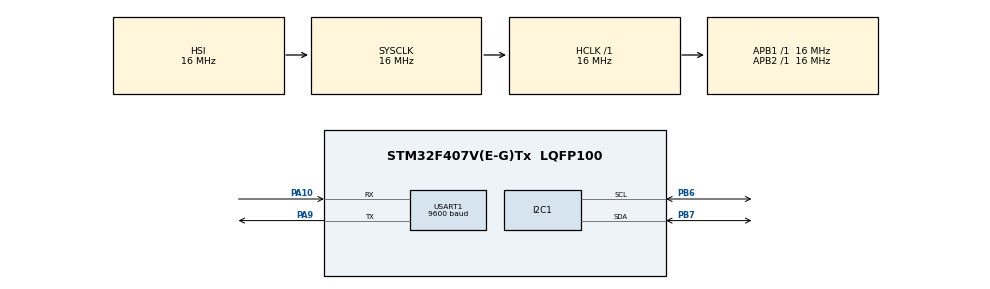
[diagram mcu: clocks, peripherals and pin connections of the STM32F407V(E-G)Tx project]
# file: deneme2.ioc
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Mcu.Family=STM32F4
Mcu.Name=STM32F407V(E-G)Tx
Mcu.Package=LQFP100
NVIC.PriorityGroup=NVIC_PRIORITYGROUP_4
PA10.Mode=Asynchronous
PA10.Signal=USART1_RX
PA13.Mode=Serial_Wire
PA13.Signal=SYS_JTMS-SWDIO
PA14.Mode=Serial_Wire
PA14.Signal=SYS_JTCK-SWCLK
PA9.Mode=Asynchronous
PA9.Signal=USART1_TX
PB6.Mode=I2C
PB6.Signal=I2C1_SCL
PB7.Mode=I2C
PB7.Signal=I2C1_SDA
ProjectManager.HeapSize=0x200
ProjectManager.StackSize=0x400
ProjectManager.TargetToolchain=MDK-ARM V5
RCC.AHBFreq_Value=16000000
RCC.APB1Freq_Value=16000000
RCC.APB2Freq_Value=16000000
RCC.CortexFreq_Value=16000000
RCC.HSE_VALUE=25000000
RCC.HSI_VALUE=16000000
RCC.LSE_VALUE=32768
RCC.SYSCLKFreq_VALUE=16000000
RCC.VCOOutputFreq_Value=192000000
USART1.BaudRate=9600
USART1.VirtualMode=VM_ASYNC
board=custom

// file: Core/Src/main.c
/* USER CODE BEGIN Header */
/**
  ******************************************************************************
  * @file           : main.c
  * @brief          : Main program body
  ******************************************************************************
  * @attention
  *
  * <h2><center>&copy; Copyright (c) 2020 STMicroelectronics.
  * All rights reserved.</center></h2>
  *
  * This software component is licensed by ST under BSD 3-Clause license,
  * the "License"; You may not use this file except in compliance with the
  * License. You may obtain a copy of the License at:
  *                        opensource.org/licenses/BSD-3-Clause
  *
  ******************************************************************************
  */
/* USER CODE END Header */
#include "main.h"
#include "i2c.h"
#include "usart.h"
#include "gpio.h"
#include "matrix.h"

#include "bno055.h"
#include "gpsParser.h"
#include "absOrientation.h"
#include "kalmanYazar.h"
#include "matrix.h"
#include "bmp280.h"

/* USER CODE BEGIN PTD */
int test = 0;
int zaman = 0, zaman2 = 0;

BMP280_HandleTypedef bmp280;
float pressure, temperature, humidity, altitudeBMP;

const float EARTH_RADIUS = 6371 * 1000.0; // meters
const float ACTUAL_GRAVITY = 9.80665;
double predictedLon = 0;
double predictedLat = 0;
double predictedVE = 0;
double predictedVN = 0;
float yazarPredictedAngle =0;
float speed, angle;

bno055_vector_t v;
bno055_vector_t v2;
float ax =0, ay=0, az=0;
float accelerationEast;
float accelerationNorth;
float accelerationUp;
float q[4];
float magneticDeclination = 5.36;
float roll = 0, pitch = 0, yaw = 0;

float lat, lon, alt;
double lat10 = 0,lon10 = 0;
uint8_t sec,min,hour, fix;
double oldLat =1, oldLon =1;

float  vEast =0;
float vNorth = 0;
float vUp = 0;
double predictedLonMeters = 0;
double predictedLatMeters = 0;
double predictedAlt = 0;
float resultantV = 0;
float timeStamp;

float gpsLatitude_raw;
float gpsLongitude_raw;
float gpsAltitude_raw;
float gpsSpeed_raw;

float latlonStandartDeviation = 2.0; //+ - 1m sapma için
float altitudeStandardDeviation = 3.518522417151836;

float accelerometerEastStandardDeviation = ACTUAL_GRAVITY * 0.033436506994600976 ; //0.033436506994600976 idi
float accelerometerNorthStandardDeviation = ACTUAL_GRAVITY * 0.05355371135598354;
float accelerometerUpStandardDeviation = ACTUAL_GRAVITY * 0.2088683796078286;

KalmanFilterFusedPositionAccelerometer longitudeEastKalmanFilter;
KalmanFilterFusedPositionAccelerometer latitudeNorthKalmanFilter;
KalmanFilterFusedPositionAccelerometer altitudeUpKalmanFilter;

int bir = 1;
float h_obs = 0;
float h_hat = 0;
float sigma_baro = 1.0;
float sigma_gps = 10.0;
int k_gps = 0;
float Hb, Qb, Rb, RTemp;

float angleBno = 0;
float h_obsAngle = 0;
float h_hatAngle = 0;
float sigma_baroAngle = 1.0;
float sigma_gpsAngle = 10.0;
int k_gpsAngle = 0;
float HbAngle, QbAngle, RbAngle, RTempAngle;
/* USER CODE END PTD */

void SystemClock_Config(void);

int main(void)
{
  /* USER CODE BEGIN 1 */
	Rb = 1 *sigma_baro;
	Hb = 1;
	Qb = 1;
  /* USER CODE END 1 */

  /* MCU Configuration--------------------------------------------------------*/

  /* Reset of all peripherals, Initializes the Flash interface and the Systick. */
  HAL_Init();

  /* Configure the system clock */
  SystemClock_Config();

  /* Initialize all configured peripherals */
  MX_GPIO_Init();
  MX_I2C1_Init();
  MX_USART1_UART_Init();
	bno055_assignI2C(&hi2c1);
	bno055_setup();
	bno055_setOperationMode(BNO055_OPERATION_MODE_COMPASS);

	bmp280_init_default_params(&bmp280.params);
	bmp280.addr = BMP280_I2C_ADDRESS_1;
	bmp280.i2c = &hi2c1;

	while (!bmp280_init(&bmp280, &bmp280.params)) {}

		initGPS(&huart1);

  /* Infinite loop */
  /* USER CODE BEGIN WHILE */
  while (1)
  {
																			// 33 ms accelerations		112ms gps
		zaman2 = HAL_GetTick();
		v = bno055_getVectorLinearAccel();
		ax = v.x; ay =v.y; az = v.z;
		HAL_Delay(5);
		v =	bno055_getVectorQuaternion();
		q[0] = v.w; q[1] = v.x; q[2] =v.y; q[3] = v.z;
		//updateFromSensor(q[0],q[1],q[2],q[3],ax,ay,az, magneticDeclination, &accelerationEast, &accelerationNorth, &accelerationUp);
		absFarkli(q[0],q[1],q[2],q[3],ax,ay,az, &accelerationEast, &accelerationNorth, &accelerationUp);
		HAL_Delay(5);
		v =	bno055_getVectorEuler();
		angleBno = v.x;
		HAL_Delay(5);

		bmp280_read_float(&bmp280, &temperature, &pressure, &humidity, &altitudeBMP);  // okuma

		GPS_Process(&huart1, &hour, &min, &sec, &lat10, &lon10, &alt, &fix, &angle, &speed);
		zaman = HAL_GetTick() - zaman2;
		if(fix && lat10 != oldLat && lon10 != oldLon) //GPS isindi ise ve veri geliyor ise
  {
		oldLat = lat10;
    oldLon = lon10;
		gpsLatitude_raw = lat10;
    gpsLongitude_raw = lon10;
    gpsAltitude_raw = alt;
    gpsSpeed_raw = knot2MS(speed);
    vEast = gpsSpeed_raw * sin(h_hatAngle);
    vNorth = gpsSpeed_raw * cos(h_hatAngle);
    vUp = 0;
	}else
  {
    gpsLatitude_raw = 0.0;
    gpsLongitude_raw = 0.0;
    gpsAltitude_raw = 0.0;
    gpsSpeed_raw = 0.0;
    vEast =0;
    vNorth = 0;
    vUp = 0;
  }
	long timeStamp =  HAL_GetTick() / 1000;

	if(!bir) {
	Predict(accelerationNorth ,timeStamp,&latitudeNorthKalmanFilter);
  Predict(accelerationEast ,timeStamp,&longitudeEastKalmanFilter);
  Predict(accelerationUp ,timeStamp,&altitudeUpKalmanFilter);
	}
	if(gpsLatitude_raw != 0.0)
{
	if(bir){
			h_hat = 0.5 * (gpsAltitude_raw + altitudeBMP);
      Qb = 1;
			h_hatAngle = angleBno;
      QbAngle = 1;
      NewKalmanFilterFusedPositionAccelerometer(gpsLatitude_raw,vNorth,latlonStandartDeviation,
      accelerometerNorthStandardDeviation,timeStamp,&latitudeNorthKalmanFilter); //Latitude

      NewKalmanFilterFusedPositionAccelerometer(gpsLongitude_raw,vEast,latlonStandartDeviation,
      accelerometerEastStandardDeviation,timeStamp,&longitudeEastKalmanFilter); //Longitude

      NewKalmanFilterFusedPositionAccelerometer(gpsAltitude_raw,vUp,altitudeStandardDeviation,
      accelerometerUpStandardDeviation,timeStamp,&altitudeUpKalmanFilter); //Altitude
			bir = 0;
    }
	float defaultPositionErr = 0; //0 idi
  float velErr = 0.005;

	float latitudeAsMeters = LatitudeToMeters(gpsLatitude_raw);
  Update(latitudeAsMeters,vNorth,&defaultPositionErr,velErr,&latitudeNorthKalmanFilter);

  float longitudeAsMeters = LongitudeToMeters(gpsLongitude_raw);
  Update(longitudeAsMeters,vEast,&defaultPositionErr,velErr,&longitudeEastKalmanFilter);

  Update(gpsAltitude_raw,vUp,&defaultPositionErr,velErr,&altitudeUpKalmanFilter);

	h_obs = gpsAltitude_raw;
  Rb = 1 * sigma_gps;
  k_gps = k_gps + 1;

	h_obsAngle = angle;
  RbAngle = 1 * sigma_gpsAngle;
  k_gpsAngle = k_gpsAngle + 1;

}else {
	h_obs = altitudeBMP;
  Rb = 1 * sigma_baro;

	h_obsAngle = angleBno;
  RbAngle = 1 * sigma_baroAngle;
}
if(!bir){
		float tmp;
		tmp = Hb*h_hat;
    Qb = pinv(pinv(Qb) + ((Hb * pinv(Rb)) * Hb));
		float tmp2;
		tmp2 = (((Qb * Hb) * pinv(Rb)) * (h_obs - tmp));
		h_hat = (h_hat) + tmp2;															// Altitude Predicted

		float tmpAngle;
		tmpAngle = HbAngle*h_hatAngle;
    Qb = pinv(pinv(QbAngle) + ((HbAngle * pinv(RbAngle)) * HbAngle));
		float tmp2Angle;
		tmp2Angle = (((QbAngle * HbAngle) * pinv(RbAngle)) * (h_obsAngle - tmpAngle));
		h_hatAngle = (h_hatAngle) + tmp2Angle;																						// Angle Predicted

		predictedLatMeters = GetPredictedPosition(&latitudeNorthKalmanFilter);
    predictedLonMeters = GetPredictedPosition(&longitudeEastKalmanFilter);
    predictedAlt = GetPredictedPosition(&altitudeUpKalmanFilter);
    GeoPoint point =  MetersToGeopoint(predictedLatMeters,predictedLonMeters);

    predictedLon = point.Longitude;
    predictedLat = point.Latitude;
    predictedVE = GetPredictedVelocityThisAxis(&longitudeEastKalmanFilter);
    predictedVN = GetPredictedVelocityThisAxis(&latitudeNorthKalmanFilter);
    resultantV = sqrt(pow(predictedVE, 2) + pow(predictedVN, 2));

    yazarPredictedAngle = atan(predictedVN/predictedVE);
	test++;

}

  }

}

void SystemClock_Config(void)
{
  RCC_OscInitTypeDef RCC_OscInitStruct = {0};
  RCC_ClkInitTypeDef RCC_ClkInitStruct = {0};

  /** Configure the main internal regulator output voltage
  */
  __HAL_RCC_PWR_CLK_ENABLE();
  __HAL_PWR_VOLTAGESCALING_CONFIG(PWR_REGULATOR_VOLTAGE_SCALE1);
  /** Initializes the RCC Oscillators according to the specified parameters
  * in the RCC_OscInitTypeDef structure.
  */
  RCC_OscInitStruct.OscillatorType = RCC_OSCILLATORTYPE_HSI;
  RCC_OscInitStruct.HSIState = RCC_HSI_ON;
  RCC_OscInitStruct.HSICalibrationValue = RCC_HSICALIBRATION_DEFAULT;
  RCC_OscInitStruct.PLL.PLLState = RCC_PLL_NONE;
  if (HAL_RCC_OscConfig(&RCC_OscInitStruct) != HAL_OK)
  {
    Error_Handler();
  }
  /** Initializes the CPU, AHB and APB buses clocks
  */
  RCC_ClkInitStruct.ClockType = RCC_CLOCKTYPE_HCLK|RCC_CLOCKTYPE_SYSCLK
                              |RCC_CLOCKTYPE_PCLK1|RCC_CLOCKTYPE_PCLK2;
  RCC_ClkInitStruct.SYSCLKSource = RCC_SYSCLKSOURCE_HSI;
  RCC_ClkInitStruct.AHBCLKDivider = RCC_SYSCLK_DIV1;
  RCC_ClkInitStruct.APB1CLKDivider = RCC_HCLK_DIV1;
  RCC_ClkInitStruct.APB2CLKDivider = RCC_HCLK_DIV1;

  if (HAL_RCC_ClockConfig(&RCC_ClkInitStruct, FLASH_LATENCY_0) != HAL_OK)
  {
    Error_Handler();
  }
}

void Error_Handler(void)
{
}

/************************ (C) COPYRIGHT STMicroelectronics *****END OF FILE****/
